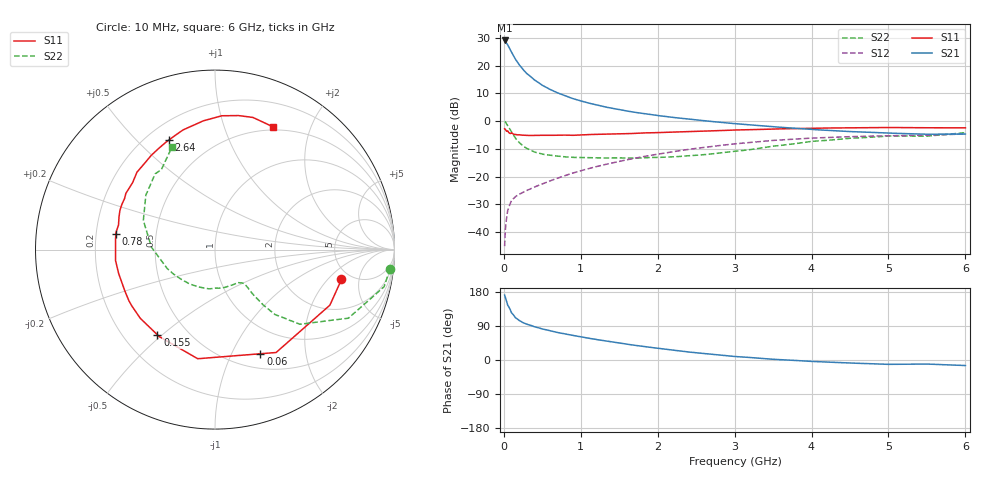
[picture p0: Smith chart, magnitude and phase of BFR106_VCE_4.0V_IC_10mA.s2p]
! Infineon Technologies  Discrete & RF Semiconductors
! BFR106
! VCE =  4.0 V,  IC =  10 mA
! Common Emitter S-Parameters:  Nov 2015
# GHz  S  MA  R  50
!  f  S11  S21  S12  S22
! GHz  MAG  ANG  MAG  ANG  MAG  ANG  MAG  ANG
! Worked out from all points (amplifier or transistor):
!   210 points, 10 MHz to 6 GHz, reference 50 ohm
!   highest |S21| = 29.0 dB at 10 MHz (marker M1)
!   |S21| within 3 dB of that: start of sweep to 76.45 MHz
!   unconditionally stable (mu >= 1): 489.6 MHz to 2.076 GHz; 5.195 GHz to end of sweep
!   at 185 MHz: K = 0.57, MSG = 23.8 dB, |S12| = -26.6 dB
!   at 1.52 GHz: K = 1.08, MAG = 7.5 dB, |S12| = -14.4 dB
!   at 6 GHz: K = 1.01, MAG = -0.7 dB, |S12| = -4.6 dB
!   S11 on the Smith chart (normalised r, x): 10 MHz: 4.14, -2.90; 60 MHz: 0.67, -1.30; 155 MHz: 0.34, -0.48; 780 MHz: 0.28, +0.07; 2.64 GHz: 0.29, +0.63; 6 GHz: 0.47, +1.48
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0.01  0.7241 -13.3  28.28 171.3  0.0056 83.1  0.9817 -6.3
0.02  0.7111 -25.8  27.57 164.5  0.0111 78.2  0.9642 -12.4
0.05  0.6668 -59.3  23.67 144.8  0.0244 63.6  0.8358 -27.2
0.06  0.6331 -66.4  22.22 141.7  0.0269 60.3  0.7914 -29.4
0.1  0.6156 -99.0  17.37 124.5  0.0373 51.6  0.63 -41.3
0.15  0.5755 -122.7  13.03 111.6  0.0435 46.9  0.4915 -47.3
0.155  0.5728 -124.1  12.75 111.0  0.044 46.9  0.4834 -47.4
0.2  0.5655 -137.4  10.34 104.2  0.0483 46.6  0.4103 -48.9
0.26  0.5579 -149.4  8.179 97.5  0.0533 47.7  0.3474 -49.5
0.3  0.5526 -155.3  7.147 94.2  0.0565 49.0  0.3216 -49.7
0.4  0.5532 -166.2  5.476 87.6  0.0651 52.1  0.2767 -49.2
0.5  0.5575 -173.8  4.408 81.9  0.074 55.1  0.2535 -49.1
0.6  0.5544 179.9  3.717 77.1  0.0839 57.0  0.2427 -50.2
0.78  0.5591 170.9  2.909 69.5  0.1031 59.9  0.2279 -53.9
1.02  0.5663 160.5  2.266 60.4  0.1299 61.7  0.2211 -60.5
1.4  0.5872 147.7  1.705 48.1  0.1753 61.6  0.2178 -75.0
2.02  0.6213 129.2  1.249 30.4  0.2565 56.5  0.2223 -105.2
2.64  0.663 112.8  1.002 16.2  0.3411 48.4  0.2512 -139.3
3.1  0.6947 102.9  0.877 8.0  0.4002 40.9  0.2951 -163.8
4.1  0.7481 85.6  0.694 -4.5  0.4996 23.9  0.4398 154.4
5.1  0.7639 72.9  0.602 -11.3  0.547 8.9  0.5373 127.4
6  0.756 64.5  0.584 -14.6  0.5867 -1.8  0.619 112.8
